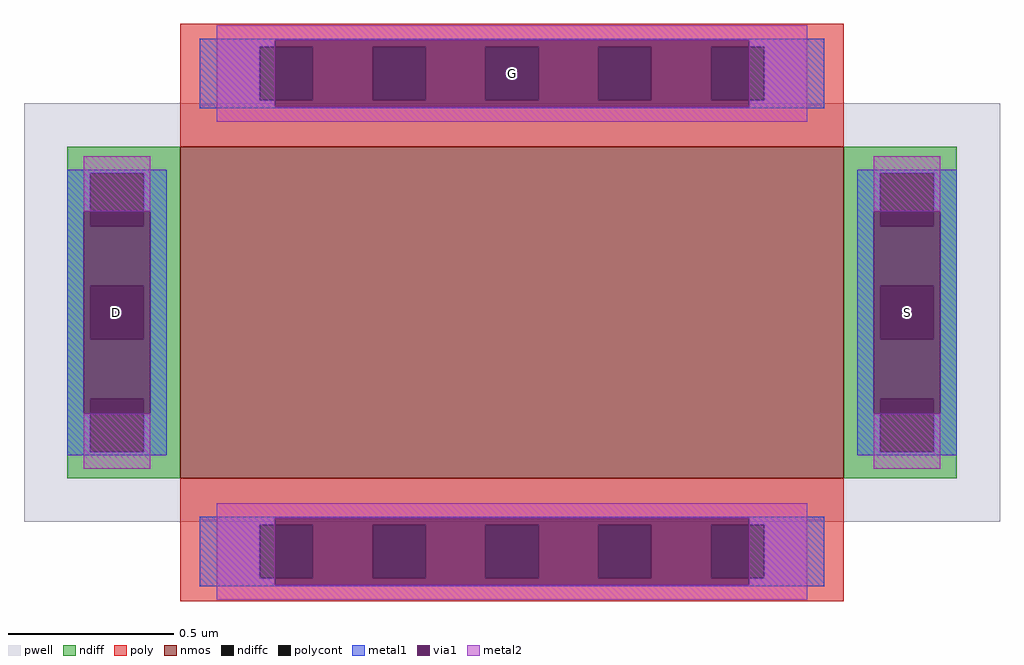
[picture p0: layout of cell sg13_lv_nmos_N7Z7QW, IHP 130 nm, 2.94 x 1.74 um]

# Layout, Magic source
magic
tech ihp-sg13g2
magscale 1 2
<< pwell >>
rect -294 -126 294 126
<< nmos >>
rect -200 -100 200 100
<< ndiff >>
rect -268 84 -200 100
rect -268 52 -254 84
rect -222 52 -200 84
rect -268 16 -200 52
rect -268 -16 -254 16
rect -222 -16 -200 16
rect -268 -52 -200 -16
rect -268 -84 -254 -52
rect -222 -84 -200 -52
rect -268 -100 -200 -84
rect 200 84 268 100
rect 200 52 222 84
rect 254 52 268 84
rect 200 16 268 52
rect 200 -16 222 16
rect 254 -16 268 16
rect 200 -52 268 -16
rect 200 -84 222 -52
rect 254 -84 268 -52
rect 200 -100 268 -84
<< ndiffc >>
rect -254 52 -222 84
rect -254 -16 -222 16
rect -254 -84 -222 -52
rect 222 52 254 84
rect 222 -16 254 16
rect 222 -84 254 -52
<< poly >>
rect -200 160 200 174
rect -200 128 -152 160
rect -120 128 -84 160
rect -52 128 -16 160
rect 16 128 52 160
rect 84 128 120 160
rect 152 128 200 160
rect -200 100 200 128
rect -200 -128 200 -100
rect -200 -160 -152 -128
rect -120 -160 -84 -128
rect -52 -160 -16 -128
rect 16 -160 52 -128
rect 84 -160 120 -128
rect 152 -160 200 -128
rect -200 -174 200 -160
<< polycont >>
rect -152 128 -120 160
rect -84 128 -52 160
rect -16 128 16 160
rect 52 128 84 160
rect 120 128 152 160
rect -152 -160 -120 -128
rect -84 -160 -52 -128
rect -16 -160 16 -128
rect 52 -160 84 -128
rect 120 -160 152 -128
<< metal1 >>
rect -188 164 188 165
rect -188 160 -143 164
rect 143 160 188 164
rect -188 128 -152 160
rect 152 128 188 160
rect -188 124 -143 128
rect 143 124 188 128
rect -188 123 188 124
rect -268 84 -208 86
rect -268 61 -254 84
rect -222 61 -208 84
rect -268 -61 -258 61
rect -218 -61 -208 61
rect -268 -84 -254 -61
rect -222 -84 -208 -61
rect -268 -86 -208 -84
rect 208 84 268 86
rect 208 61 222 84
rect 254 61 268 84
rect 208 -61 218 61
rect 258 -61 268 61
rect 208 -84 222 -61
rect 254 -84 268 -61
rect 208 -86 268 -84
rect -188 -124 188 -123
rect -188 -128 -143 -124
rect 143 -128 188 -124
rect -188 -160 -152 -128
rect 152 -160 188 -128
rect -188 -164 -143 -160
rect 143 -164 188 -160
rect -188 -165 188 -164
<< via1 >>
rect -143 160 143 164
rect -143 128 -120 160
rect -120 128 -84 160
rect -84 128 -52 160
rect -52 128 -16 160
rect -16 128 16 160
rect 16 128 52 160
rect 52 128 84 160
rect 84 128 120 160
rect 120 128 143 160
rect -143 124 143 128
rect -258 52 -254 61
rect -254 52 -222 61
rect -222 52 -218 61
rect -258 16 -218 52
rect -258 -16 -254 16
rect -254 -16 -222 16
rect -222 -16 -218 16
rect -258 -52 -218 -16
rect -258 -61 -254 -52
rect -254 -61 -222 -52
rect -222 -61 -218 -52
rect 218 52 222 61
rect 222 52 254 61
rect 254 52 258 61
rect 218 16 258 52
rect 218 -16 222 16
rect 222 -16 254 16
rect 254 -16 258 16
rect 218 -52 258 -16
rect 218 -61 222 -52
rect 222 -61 254 -52
rect 254 -61 258 -52
rect -143 -128 143 -124
rect -143 -160 -120 -128
rect -120 -160 -84 -128
rect -84 -160 -52 -128
rect -52 -160 -16 -128
rect -16 -160 16 -128
rect 16 -160 52 -128
rect 52 -160 84 -128
rect 84 -160 120 -128
rect 120 -160 143 -128
rect -143 -164 143 -160
<< metal2 >>
rect -178 164 178 173
rect -178 124 -143 164
rect 143 124 178 164
rect -178 115 178 124
rect -258 61 -218 94
rect -258 -94 -218 -61
rect 218 61 258 94
rect 218 -94 258 -61
rect -178 -124 178 -115
rect -178 -164 -143 -124
rect 143 -164 178 -124
rect -178 -173 178 -164
<< labels >>
rlabel metal1 s -238 0 -238 0 4 D
rlabel metal1 s 238 0 238 0 4 S
rlabel metal1 s 0 144 0 144 4 G
<< end >>
